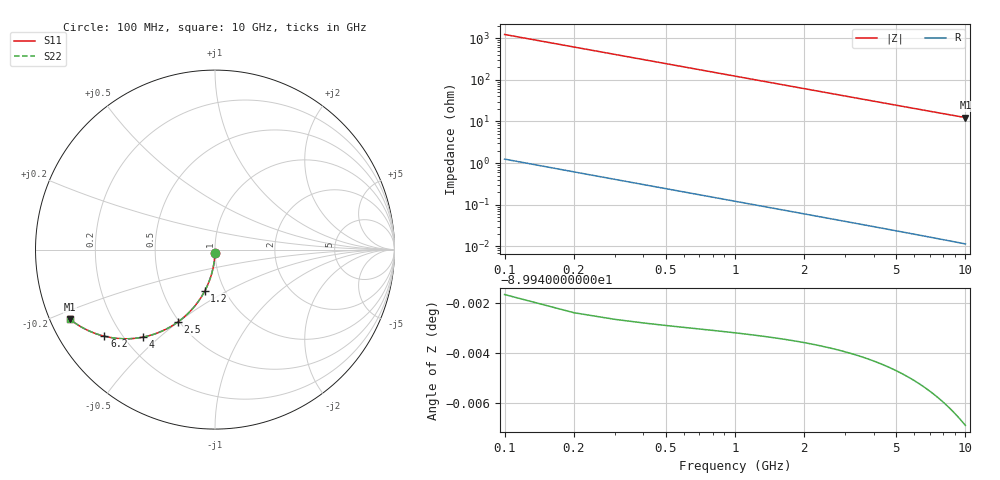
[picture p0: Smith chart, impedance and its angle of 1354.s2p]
# Hz S RI R 50.00
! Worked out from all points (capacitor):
!   100 points, 100 MHz to 10 GHz, reference 50 ohm
!   read as one part in shunt: C = 1.3 pF near 100 MHz
!   lowest |Z| = 12.4 ohm at 10 GHz (marker M1)
!   S11 on the Smith chart (normalised r, x): 100 MHz: 1.00, -0.04; 1.2 GHz: 0.81, -0.39; 2.5 GHz: 0.49, -0.50; 4 GHz: 0.27, -0.44; 6.2 GHz: 0.14, -0.34; 10 GHz: 0.06, -0.23
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1e8  -0.000401 -0.0204  0.9995 -0.0205  0.9995 -0.0205  -0.000401 -0.0204
2e8  -0.00167 -0.0407  0.9983 -0.0409  0.9983 -0.0409  -0.00167 -0.0407
3e8  -0.00377 -0.0609  0.9962 -0.0613  0.9962 -0.0613  -0.00377 -0.0609
4e8  -0.00669 -0.081  0.9932 -0.0814  0.9932 -0.0814  -0.00669 -0.081
5e8  -0.0104 -0.1009  0.9895 -0.1014  0.9895 -0.1014  -0.0104 -0.1009
6e8  -0.0149 -0.1205  0.985 -0.1211  0.985 -0.1211  -0.0149 -0.1205
7e8  -0.0202 -0.1398  0.9798 -0.1406  0.9798 -0.1406  -0.0202 -0.1398
9e8  -0.0329 -0.1775  0.967 -0.1784  0.967 -0.1784  -0.0329 -0.1775
1.2e9  -0.0569 -0.2307  0.943 -0.2319  0.943 -0.2319  -0.0569 -0.2307
1.5e9  -0.0861 -0.2794  0.9138 -0.2809  0.9138 -0.2809  -0.0861 -0.2794
1.8e9  -0.1195 -0.3229  0.8805 -0.3248  0.8805 -0.3248  -0.1195 -0.3229
2.1e9  -0.1558 -0.3611  0.8441 -0.3633  0.8441 -0.3633  -0.1558 -0.3611
2.5e9  -0.2072 -0.4036  0.7927 -0.4062  0.7927 -0.4062  -0.2072 -0.4036
2.9e9  -0.2601 -0.4367  0.7398 -0.4397  0.7398 -0.4397  -0.2601 -0.4367
3.4e9  -0.3257 -0.4664  0.6742 -0.4699  0.6742 -0.4699  -0.3257 -0.4664
4e9  -0.4006 -0.4874  0.5993 -0.4916  0.5993 -0.4916  -0.4006 -0.4874
5.1e9  -0.5205 -0.4964  0.4794 -0.5017  0.4794 -0.5017  -0.5205 -0.4964
6.2e9  -0.6158 -0.4826  0.3841 -0.4891  0.3841 -0.4891  -0.6158 -0.4826
6.7e9  -0.6518 -0.4724  0.3481 -0.4794  0.3481 -0.4794  -0.6518 -0.4724
7.5e9  -0.701 -0.4533  0.2989 -0.4612  0.2989 -0.4612  -0.701 -0.4533
8.4e9  -0.7462 -0.4302  0.2537 -0.4391  0.2537 -0.4391  -0.7462 -0.4302
1e10  -0.8064 -0.3892  0.1934 -0.3998  0.1934 -0.3998  -0.8064 -0.3892
